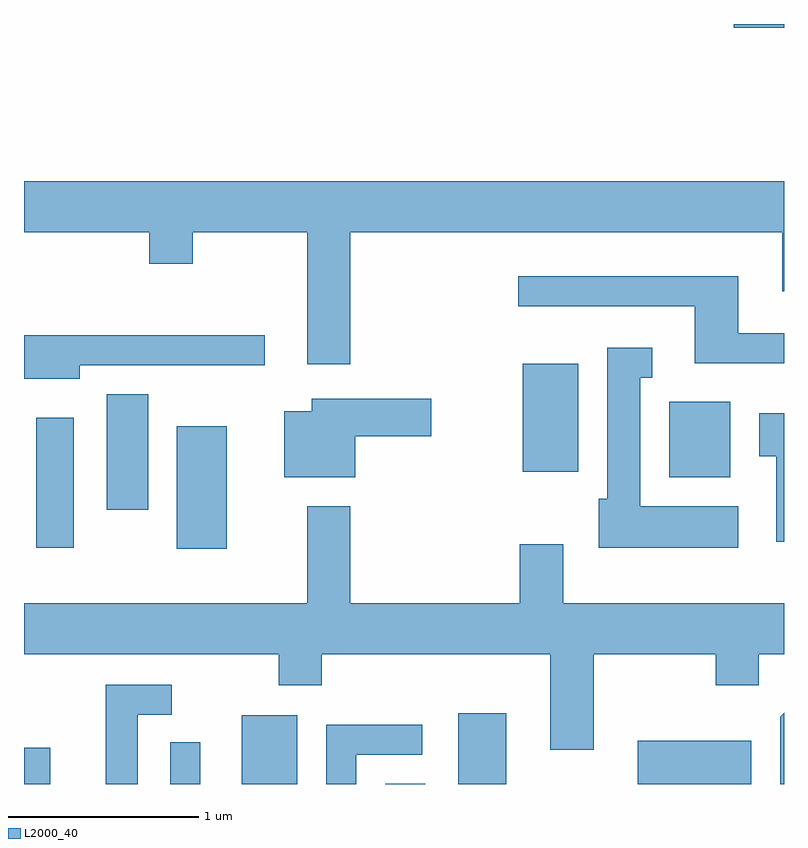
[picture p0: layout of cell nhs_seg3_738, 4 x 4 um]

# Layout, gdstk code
import gdstk
lib = gdstk.Library(unit=1e-6, precision=1e-09)
def R(c, l, rs):  # rectangles x0, y0, x1, y1
    for r in rs: c.add(gdstk.rectangle(r[:2], r[2:], *l))
def P(c, l, *ps):  # polygons
    for p in ps: c.add(gdstk.Polygon(p, *l))
L2000_40 = (2000, 40)

nhs_seg3_738 = lib.new_cell('nhs_seg3_738')
R(nhs_seg3_738, L2000_40, [(205.611,1231.892,205.749,1232.084), (206.381,1231.892,206.539,1232.113), (206.756,1231.892,207.049,1232.254), (207.511,1231.892,207.724,1231.894), (207.896,1231.892,208.149,1232.264), (208.841,1231.892,209.439,1232.119), (206.416,1233.131,206.679,1233.774), (205.676,1233.136,205.874,1233.819), (206.046,1233.336,206.264,1233.944), (209.006,1233.506,209.329,1233.904), (208.236,1233.536,208.529,1234.104), (209.346,1235.871,209.611,1235.892)])
P(nhs_seg3_738, L2000_40, [(207.329,1234.796),(209.601,1234.796),(209.601,1234.486),(209.611,1234.486),(209.611,1235.064),(205.611,1235.064),(205.611,1234.796),(206.271,1234.796),(206.271,1234.631),(206.499,1234.631),(206.499,1234.796),(207.101,1234.796),(207.101,1234.101),(207.329,1234.101)],
  [(209.611,1234.264),(209.369,1234.264),(209.369,1234.564),(208.213,1234.564),(208.213,1234.406),(209.141,1234.406),(209.141,1234.106),(209.611,1234.106)],
  [(205.904,1234.096),(206.878,1234.096),(206.878,1234.254),(205.611,1234.254),(205.611,1234.026),(205.904,1234.026)],
  [(209.369,1233.354),(208.854,1233.354),(208.854,1234.031),(208.918,1234.031),(208.918,1234.189),(208.681,1234.189),(208.681,1233.394),(208.636,1233.394),(208.636,1233.136),(209.369,1233.136)],
  [(207.354,1233.721),(207.754,1233.721),(207.754,1233.919),(207.126,1233.919),(207.126,1233.854),(206.981,1233.854),(206.981,1233.506),(207.354,1233.506)],
  [(209.611,1233.844),(209.481,1233.844),(209.481,1233.616),(209.571,1233.616),(209.571,1233.166),(209.611,1233.166)],
  [(208.609,1232.576),(209.251,1232.576),(209.251,1232.411),(209.479,1232.411),(209.479,1232.576),(209.611,1232.576),(209.611,1232.844),(208.449,1232.844),(208.449,1233.154),(208.221,1233.154),(208.221,1232.844),(207.329,1232.844),(207.329,1233.354),(207.101,1233.354),(207.101,1232.844),(205.611,1232.844),(205.611,1232.576),(206.951,1232.576),(206.951,1232.411),(207.179,1232.411),(207.179,1232.576),(208.381,1232.576),(208.381,1232.071),(208.609,1232.071)],
  [(206.209,1232.256),(206.388,1232.256),(206.388,1232.414),(206.041,1232.414),(206.041,1231.892),(206.209,1231.892)],
  [(209.611,1232.267),(209.591,1232.247),(209.591,1231.892),(209.611,1231.892)],
  [(207.359,1232.046),(207.708,1232.046),(207.708,1232.204),(207.201,1232.204),(207.201,1231.892),(207.359,1231.892)])

lib.write_gds('nhs_seg3_738.gds')
